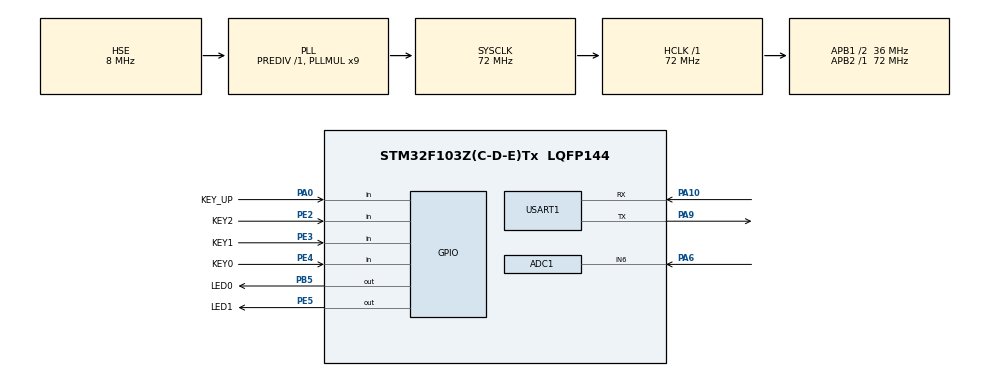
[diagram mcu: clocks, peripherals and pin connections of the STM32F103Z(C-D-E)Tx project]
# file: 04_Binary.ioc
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ADC1.Channel-1\#ChannelRegularConversion=ADC_CHANNEL_6
ADC1.ExternalTrigConv=ADC_EXTERNALTRIGCONV_T3_TRGO
ADC1.NbrOfConversionFlag=1
ADC1.Rank-1\#ChannelRegularConversion=1
ADC1.SamplingTime-1\#ChannelRegularConversion=ADC_SAMPLETIME_1CYCLE_5
ADC1.master=1
FREERTOS.BinarySemaphores01=BinSem_DataReady,Dynamic,NULL,Available
FREERTOS.Queues01=Queue_Keys,10,uint8_t,0,Dynamic,NULL,NULL
FREERTOS.Tasks01=Task_Idle,16,128,AppTask_Idle,Default,NULL,Dynamic,NULL,NULL;Task_Scankeys,24,128,AppTask_Scankeys,Default,NULL,Dynamic,NULL,NULL
Mcu.Family=STM32F1
Mcu.Name=STM32F103Z(C-D-E)Tx
Mcu.Package=LQFP144
NVIC.ADC1_2_IRQn=true\:5\:0\:false\:false\:true\:true\:true\:true\:true
NVIC.PriorityGroup=NVIC_PRIORITYGROUP_4
NVIC.TIM6_IRQn=true\:15\:0\:false\:false\:true\:false\:false\:true\:true
NVIC.TimeBase=TIM6_IRQn
NVIC.TimeBaseIP=TIM6
OSC_IN.Mode=HSE-External-Oscillator
OSC_IN.Signal=RCC_OSC_IN
OSC_OUT.Mode=HSE-External-Oscillator
OSC_OUT.Signal=RCC_OSC_OUT
PA0-WKUP.GPIO_Label=KEY_UP
PA0-WKUP.GPIO_PuPd=GPIO_PULLDOWN
PA0-WKUP.Signal=GPIO_Input
PA10.Mode=Asynchronous
PA10.Signal=USART1_RX
PA13.Mode=Serial_Wire
PA13.Signal=SYS_JTMS-SWDIO
PA14.Mode=Serial_Wire
PA14.Signal=SYS_JTCK-SWCLK
PA6.Signal=ADCx_IN6
PA9.Mode=Asynchronous
PA9.Signal=USART1_TX
PB5.GPIO_Label=LED0
PB5.Signal=GPIO_Output
PE2.GPIO_Label=KEY2
PE2.GPIO_PuPd=GPIO_PULLUP
PE2.Signal=GPIO_Input
PE3.GPIO_Label=KEY1
PE3.GPIO_PuPd=GPIO_PULLUP
PE3.Signal=GPIO_Input
PE4.GPIO_Label=KEY0
PE4.GPIO_PuPd=GPIO_PULLUP
PE4.Signal=GPIO_Input
PE5.GPIO_Label=LED1
PE5.Signal=GPIO_Output
ProjectManager.HeapSize=0x800
ProjectManager.StackSize=0x800
ProjectManager.TargetToolchain=MDK-ARM V5.32
RCC.ADCPresc=RCC_ADCPCLK2_DIV6
RCC.AHBFreq_Value=72000000
RCC.APB1CLKDivider=RCC_HCLK_DIV2
RCC.APB1Freq_Value=36000000
RCC.APB1TimFreq_Value=72000000
RCC.APB2Freq_Value=72000000
RCC.APB2TimFreq_Value=72000000
RCC.HCLKFreq_Value=72000000
RCC.PLLMUL=RCC_PLL_MUL9
RCC.PLLSourceVirtual=RCC_PLLSOURCE_HSE
RCC.SYSCLKFreq_VALUE=72000000
RCC.SYSCLKSource=RCC_SYSCLKSOURCE_PLLCLK
RCC.USBFreq_Value=72000000
SH.ADCx_IN6.0=ADC1_IN6,IN6
TIM3.AutoReloadPreload=TIM_AUTORELOAD_PRELOAD_ENABLE
TIM3.Period=7200-1
TIM3.Prescaler=5000-1
TIM3.TIM_MasterOutputTrigger=TIM_TRGO_UPDATE
USART1.VirtualMode=VM_ASYNC
VP_FREERTOS_VS_CMSIS_V2.Mode=CMSIS_V2
VP_SYS_VS_tim6.Mode=TIM6
VP_TIM3_VS_ClockSourceINT.Mode=Internal
board=custom

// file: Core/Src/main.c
/* USER CODE BEGIN Header */
/**
  ******************************************************************************
  * @file           : main.c
  * @brief          : Main program body
  ******************************************************************************
  * @attention
  *
  * Copyright (c) 2025 STMicroelectronics.
  * All rights reserved.
  *
  * This software is licensed under terms that can be found in the LICENSE file
  * in the root directory of this software component.
  * If no LICENSE file comes with this software, it is provided AS-IS.
  *
  ******************************************************************************
  */
/* USER CODE END Header */
#include "main.h"
#include "cmsis_os.h"
#include "adc.h"
#include "tim.h"
#include "usart.h"
#include "gpio.h"

void SystemClock_Config(void);
void MX_FREERTOS_Init(void);

int main(void)
{

  /* MCU Configuration--------------------------------------------------------*/

  /* Reset of all peripherals, Initializes the Flash interface and the Systick. */
  HAL_Init();

  /* Configure the system clock */
  SystemClock_Config();

  /* Initialize all configured peripherals */
  MX_GPIO_Init();
  MX_USART1_UART_Init();
  MX_ADC1_Init();
  MX_TIM3_Init();
  /* USER CODE BEGIN 2 */
  HAL_ADC_Start_IT(&hadc1);
  HAL_TIM_Base_Start(&htim3);
  /* USER CODE END 2 */

  /* Init scheduler */
  osKernelInitialize();  /* Call init function for freertos objects (in cmsis_os2.c) */
  MX_FREERTOS_Init();

  /* Start scheduler */
  osKernelStart();

  /* We should never get here as control is now taken by the scheduler */

  /* Infinite loop */
  while (1)
  {

  }
}

void SystemClock_Config(void)
{
  RCC_OscInitTypeDef RCC_OscInitStruct = {0};
  RCC_ClkInitTypeDef RCC_ClkInitStruct = {0};
  RCC_PeriphCLKInitTypeDef PeriphClkInit = {0};

  /** Initializes the RCC Oscillators according to the specified parameters
  * in the RCC_OscInitTypeDef structure.
  */
  RCC_OscInitStruct.OscillatorType = RCC_OSCILLATORTYPE_HSE;
  RCC_OscInitStruct.HSEState = RCC_HSE_ON;
  RCC_OscInitStruct.HSEPredivValue = RCC_HSE_PREDIV_DIV1;
  RCC_OscInitStruct.HSIState = RCC_HSI_ON;
  RCC_OscInitStruct.PLL.PLLState = RCC_PLL_ON;
  RCC_OscInitStruct.PLL.PLLSource = RCC_PLLSOURCE_HSE;
  RCC_OscInitStruct.PLL.PLLMUL = RCC_PLL_MUL9;
  if (HAL_RCC_OscConfig(&RCC_OscInitStruct) != HAL_OK)
  {
    Error_Handler();
  }

  /** Initializes the CPU, AHB and APB buses clocks
  */
  RCC_ClkInitStruct.ClockType = RCC_CLOCKTYPE_HCLK|RCC_CLOCKTYPE_SYSCLK
                              |RCC_CLOCKTYPE_PCLK1|RCC_CLOCKTYPE_PCLK2;
  RCC_ClkInitStruct.SYSCLKSource = RCC_SYSCLKSOURCE_PLLCLK;
  RCC_ClkInitStruct.AHBCLKDivider = RCC_SYSCLK_DIV1;
  RCC_ClkInitStruct.APB1CLKDivider = RCC_HCLK_DIV2;
  RCC_ClkInitStruct.APB2CLKDivider = RCC_HCLK_DIV1;

  if (HAL_RCC_ClockConfig(&RCC_ClkInitStruct, FLASH_LATENCY_2) != HAL_OK)
  {
    Error_Handler();
  }
  PeriphClkInit.PeriphClockSelection = RCC_PERIPHCLK_ADC;
  PeriphClkInit.AdcClockSelection = RCC_ADCPCLK2_DIV6;
  if (HAL_RCCEx_PeriphCLKConfig(&PeriphClkInit) != HAL_OK)
  {
    Error_Handler();
  }
}

void HAL_TIM_PeriodElapsedCallback(TIM_HandleTypeDef *htim)
{
  if (htim->Instance == TIM6)
  {
    HAL_IncTick();
  }
}

void Error_Handler(void)
{
  __disable_irq();
  while (1)
  {
  }
}

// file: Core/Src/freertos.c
/* USER CODE BEGIN Header */
/**
  ******************************************************************************
  * File Name          : freertos.c
  * Description        : Code for freertos applications
  ******************************************************************************
  * @attention
  *
  * Copyright (c) 2025 STMicroelectronics.
  * All rights reserved.
  *
  * This software is licensed under terms that can be found in the LICENSE file
  * in the root directory of this software component.
  * If no LICENSE file comes with this software, it is provided AS-IS.
  *
  ******************************************************************************
  */
/* USER CODE END Header */

#include "FreeRTOS.h"
#include "task.h"
#include "main.h"
#include "cmsis_os.h"

/* USER CODE BEGIN Includes */
#include "stdio.h"
#include "semphr.h"
#include "adc.h"
#include "usart.h"
/* USER CODE END Includes */

/* USER CODE BEGIN Variables */
uint16_t adc_value = 0;
/* USER CODE END Variables */
/* Definitions for Task_Idle */
osThreadId_t Task_IdleHandle;
const osThreadAttr_t Task_Idle_attributes = {
  .name = "Task_Idle",
  .stack_size = 128 * 4,
  .priority = (osPriority_t) osPriorityBelowNormal,
};
/* Definitions for Task_Scankeys */
osThreadId_t Task_ScankeysHandle;
const osThreadAttr_t Task_Scankeys_attributes = {
  .name = "Task_Scankeys",
  .stack_size = 128 * 4,
  .priority = (osPriority_t) osPriorityNormal,
};
/* Definitions for Queue_Keys */
osMessageQueueId_t Queue_KeysHandle;
const osMessageQueueAttr_t Queue_Keys_attributes = {
  .name = "Queue_Keys"
};
/* Definitions for BinSem_DataReady */
osSemaphoreId_t BinSem_DataReadyHandle;
const osSemaphoreAttr_t BinSem_DataReady_attributes = {
  .name = "BinSem_DataReady"
};

void AppTask_Idle(void *argument);
void AppTask_Scankeys(void *argument);

void MX_FREERTOS_Init(void); /* (MISRA C 2004 rule 8.1) */

void MX_FREERTOS_Init(void) {

  /* Create the semaphores(s) */
  /* creation of BinSem_DataReady */
  BinSem_DataReadyHandle = osSemaphoreNew(1, 1, &BinSem_DataReady_attributes);

  /* Create the queue(s) */
  /* creation of Queue_Keys */
  Queue_KeysHandle = osMessageQueueNew (10, sizeof(uint8_t), &Queue_Keys_attributes);

  /* Create the thread(s) */
  /* creation of Task_Idle */
  Task_IdleHandle = osThreadNew(AppTask_Idle, NULL, &Task_Idle_attributes);

  /* creation of Task_Scankeys */
  Task_ScankeysHandle = osThreadNew(AppTask_Scankeys, NULL, &Task_Scankeys_attributes);

}

void AppTask_Idle(void *argument)
{
  /* USER CODE BEGIN AppTask_Idle */
  uint8_t temp_str[50];
  /* Infinite loop */
  for(;;)
  {
    if  (xSemaphoreTake(BinSem_DataReadyHandle, portMAX_DELAY) == pdTRUE)
    {
      sprintf(temp_str, "ADC value: %d\r\n", adc_value);
      HAL_UART_Transmit(&huart1, (uint8_t*)temp_str, strlen(temp_str), 1000);

      sprintf(temp_str, "Voltage: %f\r\n", adc_value/4095.0*3.3);
      HAL_UART_Transmit(&huart1, (uint8_t*)temp_str, strlen(temp_str), 1000);

      osDelay(100);
    }else
    {
      osDelay(10);
    }
    //osDelay(1);
  }
  /* USER CODE END AppTask_Idle */
}

void AppTask_Scankeys(void *argument)
{
  for(;;)
  {
    osDelay(1);
  }
}

/* USER CODE BEGIN Application */
void HAL_ADC_ConvCpltCallback(ADC_HandleTypeDef* hadc)
{
  if (hadc == &hadc1)
  {
    adc_value = HAL_ADC_GetValue(hadc);
    BaseType_t highTaskWoken = pdFALSE;
    if (BinSem_DataReadyHandle != NULL)
    {
      xSemaphoreGiveFromISR(BinSem_DataReadyHandle, &highTaskWoken);
      portYIELD_FROM_ISR(highTaskWoken);
    }
    //osSemaphoreRelease(BinSem_DataReadyHandle);
  }

}
/* USER CODE END Application */
